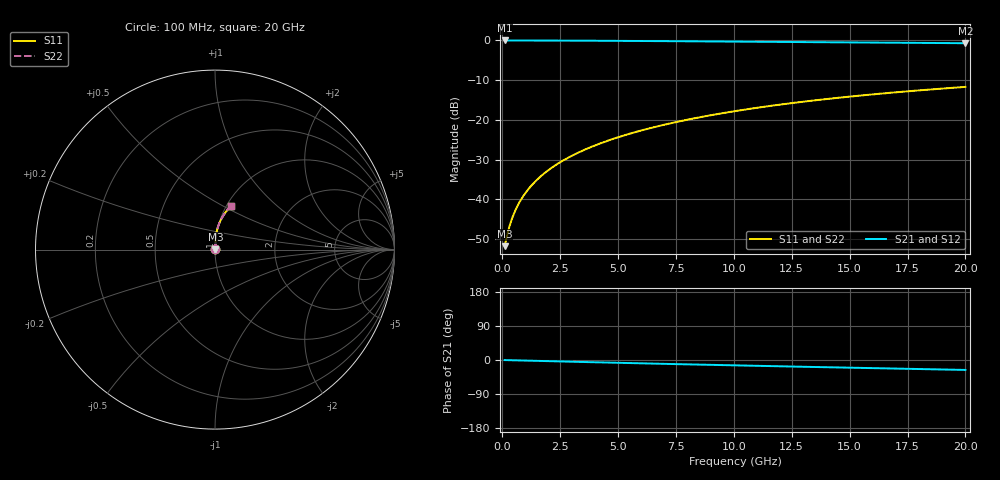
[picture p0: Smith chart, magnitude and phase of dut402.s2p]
! Touchstone file exported from HFSS 2024.1.0
!  File:  C:/UserFiles/LocalFiles/RDL_TSV_Batchsim/temp_RDL_top_402_1779675202.aedt
!  Generated:  10:16:06 AM May 25, 2026
!  Design:  RDL_top
!  Project:  temp_RDL_top_402_1779675202
!  Setup:  Setup1
!  Solution:  Sweep
! Variables:
!  dtsv = 10.80580581um
!  hbump = 3um
!  htsv = 50.74um
!  ldown = 100um
!  lrdl = 363.68um
!  p = 40
!  p1 = 44.45um
!  rhole = 1um
!  t = 450um
!  tdown = 3.915915916um
!  trdl = 3.06um
!  wdown = 15.38538539um
!  wrdl = 21.14um
# GHz S MA R 50.000000
! Terminal data exported
! Port[1] = Box2_T1
! Port[2] = Box2_T2
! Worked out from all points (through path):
!   200 points, 100 MHz to 20 GHz, reference 50 ohm
!   highest |S21| = -0.02 dB at 100 MHz (marker M1); lowest = -0.7 dB at 20 GHz (marker M2)
!   group delay of S21, straight-line fit = 3.61 ps
!   lowest |S11| = -51.8 dB at 100 MHz (marker M3), VSWR 1.01, Z = 50.2 + j0.13 ohm
!   |S11| at or under -10 dB: start of sweep to end of sweep
!   |S22| runs from -51.8 to -11.7 dB; largest |S21 - S12| = 2.3e-15
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0.1  0.002574 30.1  0.9978 -0.2  0.9978 -0.2  0.002574 30.1
! Gamma 0 0 0 0
! Port Impedance 50 0 50 0
0.2  0.003437 47.8  0.9977 -0.3  0.9977 -0.3  0.003437 47.8
0.3  0.004456 57.3  0.9975 -0.5  0.9975 -0.5  0.004456 57.3
0.4  0.005513 63.1  0.9974 -0.6  0.9974 -0.6  0.005513 63.1
0.5  0.006581 67.0  0.9973 -0.8  0.9973 -0.8  0.006581 67.0
0.6  0.007654 69.9  0.9972 -0.9  0.9972 -0.9  0.007654 70.0
0.8  0.009824 74.1  0.9969 -1.2  0.9969 -1.2  0.009824 74.1
1  0.01203 76.9  0.9967 -1.5  0.9967 -1.5  0.01203 76.9
1.2  0.01426 78.9  0.9965 -1.8  0.9965 -1.8  0.01426 78.9
1.4  0.01651 80.4  0.9962 -2.1  0.9962 -2.1  0.01651 80.4
1.7  0.01994 82.1  0.9957 -2.6  0.9957 -2.6  0.01994 82.1
2.2  0.02575 83.9  0.9948 -3.4  0.9948 -3.4  0.02575 83.9
2.8  0.03287 85.2  0.9934 -4.2  0.9934 -4.2  0.03287 85.2
3.5  0.04139 86.1  0.9914 -5.3  0.9914 -5.3  0.04139 86.1
4.2  0.05012 86.5  0.9892 -6.3  0.9892 -6.3  0.05013 86.5
5  0.06036 86.5  0.9863 -7.4  0.9863 -7.4  0.06037 86.5
6.8  0.08422 85.7  0.9792 -9.9  0.9792 -9.9  0.08423 85.7
8.4  0.106 84.3  0.9724 -12.0  0.9724 -12.0  0.1061 84.3
10.1  0.1295 82.4  0.9651 -14.2  0.9651 -14.2  0.1295 82.5
13.4  0.1747 78.3  0.9506 -18.4  0.9506 -18.4  0.1747 78.3
16.7  0.2184 73.9  0.936 -22.3  0.936 -22.3  0.2184 73.9
20  0.2598 69.7  0.9211 -26.2  0.9211 -26.2  0.2599 69.7
